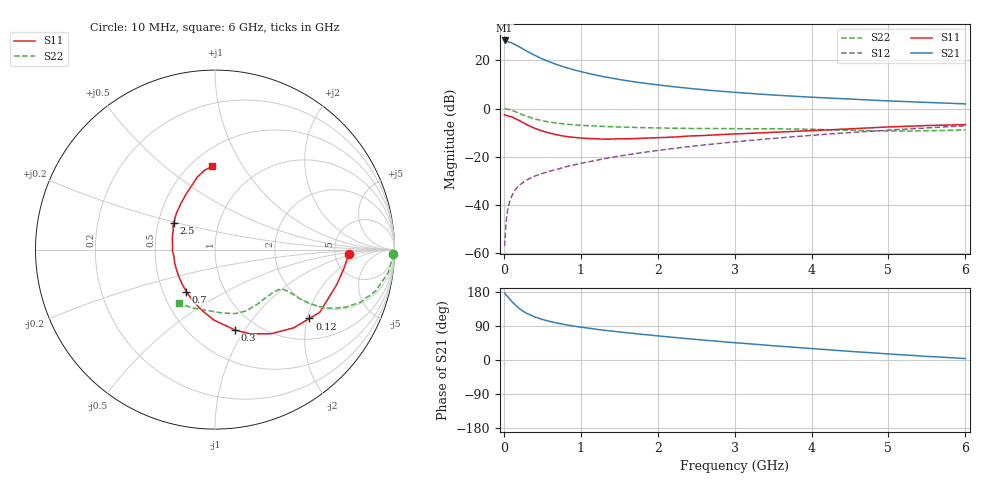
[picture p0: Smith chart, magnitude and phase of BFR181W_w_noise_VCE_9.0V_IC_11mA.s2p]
! (c) 2017  Infineon Technologies AG, Munich
! Infineon Technologies  Discrete & RF Semiconductors
! BFR181W
! VCE =  9.0 V,  IC =  11 mA
! Common Emitter S-Parameters:  Jan 2017
# GHz  S  MA  R  50
!  f  S11  S21  S12  S22
! GHz  MAG  ANG  MAG  ANG  MAG  ANG  MAG  ANG
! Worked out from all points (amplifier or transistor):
!   77 points, 10 MHz to 6 GHz, reference 50 ohm
!   highest |S21| = 28.3 dB at 10 MHz (marker M1)
!   |S21| within 3 dB of that: start of sweep to 220 MHz
!   unconditionally stable (mu >= 1): 1.028 GHz to 3.008 GHz
!   at 130 MHz: K = 0.28, MSG = 30.7 dB, |S12| = -34.7 dB
!   at 2.2 GHz: K = 1.05, MAG = 11.4 dB, |S12| = -16.6 dB
!   at 6 GHz: K = 0.85, MSG = 4.6 dB, |S12| = -7.2 dB
!   lowest NFmin = 1.29 dB at 450 MHz
!   S11 on the Smith chart (normalised r, x): 10 MHz: 6.72, -0.82; 120 MHz: 1.55, -2.06; 300 MHz: 0.80, -0.91; 700 MHz: 0.66, -0.33; 2.5 GHz: 0.60, +0.19; 6 GHz: 0.63, +0.74
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0.01  0.7445 -2.1  25.86 177.0  0.0014 84.2  0.9916 -1.4
0.02  0.7285 -7.5  25.39 173.9  0.0026 91.4  0.9887 -2.9
0.06  0.6976 -18.6  24.29 164.7  0.0094 79.2  0.9623 -8.9
0.1  0.6803 -30.9  23.13 155.1  0.0149 76.8  0.9237 -14.5
0.12  0.651 -36.1  22.27 151.2  0.0173 74.0  0.8978 -16.6
0.15  0.6183 -44.8  21.19 144.9  0.021 71.1  0.8612 -19.9
0.2  0.5643 -56.1  19.08 136.0  0.0254 67.8  0.7966 -23.7
0.25  0.5113 -66.9  17.21 128.7  0.0296 65.1  0.7383 -26.3
0.3  0.4625 -75.9  15.46 122.8  0.0331 63.5  0.6867 -28.0
0.4  0.3926 -90.9  12.76 113.7  0.0396 62.5  0.6108 -29.6
0.5  0.3423 -103.3  10.72 107.0  0.045 62.7  0.5586 -30.1
0.6  0.309 -114.2  9.221 101.6  0.0505 62.9  0.5224 -30.0
0.7  0.283 -124.4  8.053 97.1  0.0554 64.7  0.4955 -29.8
0.9  0.2535 -141.6  6.43 89.7  0.067 65.5  0.462 -29.9
1.1  0.2397 -155.6  5.357 84.0  0.0784 66.6  0.4411 -30.3
1.5  0.2374 -178.4  4.017 74.1  0.1032 67.5  0.4146 -33.0
2.1  0.2521 158.8  2.969 61.8  0.1418 66.8  0.3938 -40.6
2.5  0.2727 147.5  2.544 54.3  0.1688 65.5  0.3865 -47.3
3.1  0.3018 133.5  2.117 44.2  0.2109 62.7  0.3824 -57.4
4.1  0.3545 115.8  1.69 28.7  0.2861 56.2  0.3688 -74.8
5.1  0.4216 102.4  1.421 14.7  0.3649 48.2  0.3415 -99.4
6  0.4648 92.0  1.25 3.8  0.4382 39.9  0.3617 -124.0
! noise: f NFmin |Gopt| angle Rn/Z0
0.45  1.29  0.12  17  0.21
0.9  1.33  0.12  31  0.21
1.9  1.76  0.04  -171  0.2
2.4  1.95  0.05  -122  0.25
